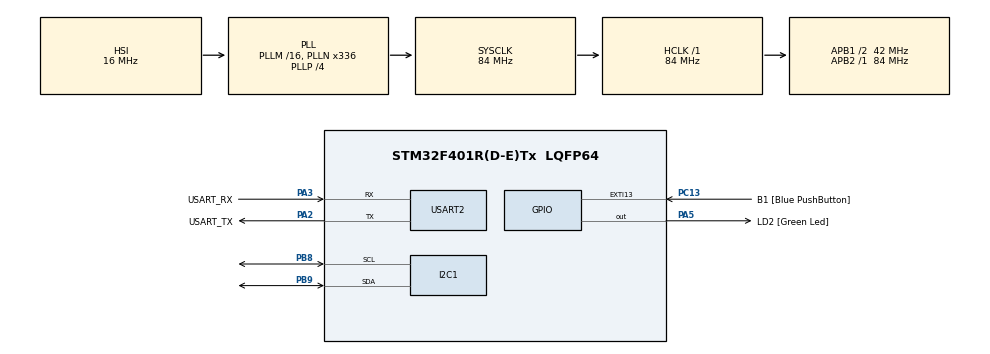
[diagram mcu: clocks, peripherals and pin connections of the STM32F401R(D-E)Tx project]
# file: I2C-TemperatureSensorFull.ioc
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Mcu.Family=STM32F4
Mcu.Name=STM32F401R(D-E)Tx
Mcu.Package=LQFP64
NVIC.PriorityGroup=NVIC_PRIORITYGROUP_1
NVIC.TIM1_TRG_COM_TIM11_IRQn=true\:0\:0\:false\:false\:true\:true\:true
PA13.GPIO_Label=TMS
PA13.Mode=Serial_Wire
PA13.Signal=SYS_JTMS-SWDIO
PA14.GPIO_Label=TCK
PA14.Mode=Serial_Wire
PA14.Signal=SYS_JTCK-SWCLK
PA2.GPIO_Label=USART_TX
PA2.GPIO_Mode=GPIO_MODE_AF_PP
PA2.GPIO_PuPd=GPIO_NOPULL
PA2.GPIO_Speed=GPIO_SPEED_FREQ_LOW
PA2.Mode=Asynchronous
PA2.Signal=USART2_TX
PA3.GPIO_Label=USART_RX
PA3.GPIO_Mode=GPIO_MODE_AF_PP
PA3.GPIO_PuPd=GPIO_NOPULL
PA3.GPIO_Speed=GPIO_SPEED_FREQ_LOW
PA3.Mode=Asynchronous
PA3.Signal=USART2_RX
PA5.GPIO_Label=LD2 [Green Led]
PA5.GPIO_Mode=GPIO_MODE_OUTPUT_PP
PA5.GPIO_PuPd=GPIO_NOPULL
PA5.GPIO_Speed=GPIO_SPEED_FREQ_LOW
PA5.Signal=GPIO_Output
PB3.GPIO_Label=SWO
PB3.Signal=SYS_JTDO-SWO
PB8.Mode=I2C
PB8.Signal=I2C1_SCL
PB9.Mode=I2C
PB9.Signal=I2C1_SDA
PC13-ANTI_TAMP.GPIO_Label=B1 [Blue PushButton]
PC13-ANTI_TAMP.GPIO_ModeDefaultEXTI=GPIO_MODE_IT_FALLING
PC13-ANTI_TAMP.GPIO_PuPd=GPIO_NOPULL
PC13-ANTI_TAMP.Signal=GPXTI13
PC14-OSC32_IN.Mode=LSE-External-Oscillator
PC14-OSC32_IN.Signal=RCC_OSC32_IN
PC15-OSC32_OUT.Mode=LSE-External-Oscillator
PC15-OSC32_OUT.Signal=RCC_OSC32_OUT
PH0\ -\ OSC_IN.Mode=HSE-External-Clock-Source
PH0\ -\ OSC_IN.Signal=RCC_OSC_IN
PH1\ -\ OSC_OUT.Mode=HSE-External-Clock-Source
PH1\ -\ OSC_OUT.Signal=RCC_OSC_OUT
ProjectManager.HeapSize=0x200
ProjectManager.StackSize=0x400
ProjectManager.TargetToolchain=STM32CubeIDE
RCC.48MHZClocksFreq_Value=48000000
RCC.AHBFreq_Value=84000000
RCC.APB1CLKDivider=RCC_HCLK_DIV2
RCC.APB1Freq_Value=42000000
RCC.APB1TimFreq_Value=84000000
RCC.APB2Freq_Value=84000000
RCC.APB2TimFreq_Value=84000000
RCC.CortexFreq_Value=84000000
RCC.HCLKFreq_Value=84000000
RCC.HSE_VALUE=8000000
RCC.HSI_VALUE=16000000
RCC.PLLN=336
RCC.PLLP=RCC_PLLP_DIV4
RCC.PLLQ=7
RCC.SYSCLKFreq_VALUE=84000000
RCC.SYSCLKSource=RCC_SYSCLKSOURCE_PLLCLK
RCC.VCOOutputFreq_Value=336000000
TIM11.Period=42000-1
TIM11.Prescaler=2000
USART2.VirtualMode=VM_ASYNC
VP_TIM11_VS_ClockSourceINT.Mode=Enable_Timer
board=NUCLEO-F401RE

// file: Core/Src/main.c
/* USER CODE BEGIN Header */
/**
 ******************************************************************************
 * @file           : main.c
 * @brief          : Main program body
 ******************************************************************************
 * @attention
 *
 * <h2><center>&copy; Copyright (c) 2021 STMicroelectronics.
 * All rights reserved.</center></h2>
 *
 * This software component is licensed by ST under BSD 3-Clause license,
 * the "License"; You may not use this file except in compliance with the
 * License. You may obtain a copy of the License at:
 *                        opensource.org/licenses/BSD-3-Clause
 *
 ******************************************************************************
 */
/* USER CODE END Header */
#include "main.h"

/* USER CODE BEGIN Includes */
#include "stdio.h"
#include "string.h"
#include "stdint.h"
/* USER CODE END Includes */

/* USER CODE BEGIN PTD */
typedef struct test {
	uint8_t msb;
	uint8_t lsb;
	float converted;
} Test;
/* USER CODE END PTD */

/* USER CODE BEGIN PD */
#define tempSensor_addr (0b1001000<<1) // shift by one for the R/W bit
/* USER CODE END PD */

I2C_HandleTypeDef hi2c1;

TIM_HandleTypeDef htim11;

UART_HandleTypeDef huart2;

/* USER CODE BEGIN PV */
uint8_t dataReg = 0x00; // register of the MSB of the data
uint8_t dataBuff[2]; // buffer for the temperature read
/* USER CODE END PV */

void SystemClock_Config(void);
static void MX_GPIO_Init(void);
static void MX_USART2_UART_Init(void);
static void MX_I2C1_Init(void);
static void MX_TIM11_Init(void);
/* USER CODE BEGIN PFP */
int selfTest(void);
float convertToFloat(int8_t msb, uint8_t lsb);
void repBinary(char *byteRep, uint8_t byte);
/* USER CODE END PFP */

int main(void) {

	/* MCU Configuration--------------------------------------------------------*/

	/* Reset of all peripherals, Initializes the Flash interface and the Systick. */
	HAL_Init();

	/* Configure the system clock */
	SystemClock_Config();

	/* Initialize all configured peripherals */
	MX_GPIO_Init();
	MX_USART2_UART_Init();
	MX_I2C1_Init();
	MX_TIM11_Init();

	/* Infinite loop */
	/* USER CODE BEGIN WHILE */
	// if selfTest passes, then start the program. otherwise fail
	if (selfTest()) {
		// initializes the register that will be sent by the peripheral
		HAL_I2C_Master_Transmit(&hi2c1, tempSensor_addr, &dataReg, 1, 1000);
		HAL_TIM_Base_Start_IT(&htim11);
	}

	while (1) {
		/* USER CODE END WHILE */

	}
}

void SystemClock_Config(void) {
	RCC_OscInitTypeDef RCC_OscInitStruct = { 0 };
	RCC_ClkInitTypeDef RCC_ClkInitStruct = { 0 };

	/** Configure the main internal regulator output voltage
	 */
	__HAL_RCC_PWR_CLK_ENABLE();
	__HAL_PWR_VOLTAGESCALING_CONFIG(PWR_REGULATOR_VOLTAGE_SCALE2);
	/** Initializes the RCC Oscillators according to the specified parameters
	 * in the RCC_OscInitTypeDef structure.
	 */
	RCC_OscInitStruct.OscillatorType = RCC_OSCILLATORTYPE_HSI;
	RCC_OscInitStruct.HSIState = RCC_HSI_ON;
	RCC_OscInitStruct.HSICalibrationValue = RCC_HSICALIBRATION_DEFAULT;
	RCC_OscInitStruct.PLL.PLLState = RCC_PLL_ON;
	RCC_OscInitStruct.PLL.PLLSource = RCC_PLLSOURCE_HSI;
	RCC_OscInitStruct.PLL.PLLM = 16;
	RCC_OscInitStruct.PLL.PLLN = 336;
	RCC_OscInitStruct.PLL.PLLP = RCC_PLLP_DIV4;
	RCC_OscInitStruct.PLL.PLLQ = 7;
	if (HAL_RCC_OscConfig(&RCC_OscInitStruct) != HAL_OK) {
		Error_Handler();
	}
	/** Initializes the CPU, AHB and APB buses clocks
	 */
	RCC_ClkInitStruct.ClockType = RCC_CLOCKTYPE_HCLK | RCC_CLOCKTYPE_SYSCLK
			| RCC_CLOCKTYPE_PCLK1 | RCC_CLOCKTYPE_PCLK2;
	RCC_ClkInitStruct.SYSCLKSource = RCC_SYSCLKSOURCE_PLLCLK;
	RCC_ClkInitStruct.AHBCLKDivider = RCC_SYSCLK_DIV1;
	RCC_ClkInitStruct.APB1CLKDivider = RCC_HCLK_DIV2;
	RCC_ClkInitStruct.APB2CLKDivider = RCC_HCLK_DIV1;

	if (HAL_RCC_ClockConfig(&RCC_ClkInitStruct, FLASH_LATENCY_2) != HAL_OK) {
		Error_Handler();
	}
}

static void MX_I2C1_Init(void) {

	hi2c1.Instance = I2C1;
	hi2c1.Init.ClockSpeed = 100000;
	hi2c1.Init.DutyCycle = I2C_DUTYCYCLE_2;
	hi2c1.Init.OwnAddress1 = 0;
	hi2c1.Init.AddressingMode = I2C_ADDRESSINGMODE_7BIT;
	hi2c1.Init.DualAddressMode = I2C_DUALADDRESS_DISABLE;
	hi2c1.Init.OwnAddress2 = 0;
	hi2c1.Init.GeneralCallMode = I2C_GENERALCALL_DISABLE;
	hi2c1.Init.NoStretchMode = I2C_NOSTRETCH_DISABLE;
	if (HAL_I2C_Init(&hi2c1) != HAL_OK) {
		Error_Handler();
	}

}

static void MX_TIM11_Init(void) {

	htim11.Instance = TIM11;
	htim11.Init.Prescaler = 2000;
	htim11.Init.CounterMode = TIM_COUNTERMODE_UP;
	htim11.Init.Period = 42000 - 1;
	htim11.Init.ClockDivision = TIM_CLOCKDIVISION_DIV1;
	htim11.Init.AutoReloadPreload = TIM_AUTORELOAD_PRELOAD_DISABLE;
	if (HAL_TIM_Base_Init(&htim11) != HAL_OK) {
		Error_Handler();
	}

}

static void MX_USART2_UART_Init(void) {

	huart2.Instance = USART2;
	huart2.Init.BaudRate = 115200;
	huart2.Init.WordLength = UART_WORDLENGTH_8B;
	huart2.Init.StopBits = UART_STOPBITS_1;
	huart2.Init.Parity = UART_PARITY_NONE;
	huart2.Init.Mode = UART_MODE_TX_RX;
	huart2.Init.HwFlowCtl = UART_HWCONTROL_NONE;
	huart2.Init.OverSampling = UART_OVERSAMPLING_16;
	if (HAL_UART_Init(&huart2) != HAL_OK) {
		Error_Handler();
	}

}

static void MX_GPIO_Init(void) {
	GPIO_InitTypeDef GPIO_InitStruct = { 0 };

	/* GPIO Ports Clock Enable */
	__HAL_RCC_GPIOC_CLK_ENABLE();
	__HAL_RCC_GPIOH_CLK_ENABLE();
	__HAL_RCC_GPIOA_CLK_ENABLE();
	__HAL_RCC_GPIOB_CLK_ENABLE();

	/*Configure GPIO pin Output Level */
	HAL_GPIO_WritePin(LD2_GPIO_Port, LD2_Pin, GPIO_PIN_RESET);

	/*Configure GPIO pin : B1_Pin */
	GPIO_InitStruct.Pin = B1_Pin;
	GPIO_InitStruct.Mode = GPIO_MODE_IT_FALLING;
	GPIO_InitStruct.Pull = GPIO_NOPULL;
	HAL_GPIO_Init(B1_GPIO_Port, &GPIO_InitStruct);

	/*Configure GPIO pin : LD2_Pin */
	GPIO_InitStruct.Pin = LD2_Pin;
	GPIO_InitStruct.Mode = GPIO_MODE_OUTPUT_PP;
	GPIO_InitStruct.Pull = GPIO_NOPULL;
	GPIO_InitStruct.Speed = GPIO_SPEED_FREQ_LOW;
	HAL_GPIO_Init(LD2_GPIO_Port, &GPIO_InitStruct);

}

/* USER CODE BEGIN 4 */
/**
 * @brief represents a byte into a string of bits
 * @param byteRep: pointer to the string in which the result will be put
 * @param byte: byte to be represented in string
 */
void repBinary(char *byteRep, uint8_t byte) {
	for (int i = 0; i < 8; i++) {
		byteRep[i] = (byte & 0b10000000) ? '1' : '0';
		byte <<= 1;
	}
	byteRep[9] = 0;
}

/**
 * @brief testing the convertToFloat conversion
 *
 * @retval 1 if selfTest is passed, 0 otherwise
 */
int selfTest() {
	char string[128], repMSB[9], repLSB[9];
	int len;
	float converted;
	Test tests[] = { { 0b01111111, 0b00000000, 127.0 }, { 0b01111110,
			0b11100000, 126.875 }, { 0b01111110, 0b00100000, 126.125 }, {
			0b01111101, 0b00000000, 125.0 }, { 0b00011001, 0b00000000, 25.0 }, {
			0b00000000, 0b00100000, 0.125 }, { 0b11111111, 0b11100000, -0.125 },
			{ 0b11001001, 0b00100000, -54.875 } };

	len = sprintf(string, "\r\n*** Self test started ***\r\n");
	HAL_UART_Transmit(&huart2, string, len, 1000);

	for (int i = 0; i < sizeof(tests) / sizeof(Test); i++) {
		converted = convertToFloat(tests[i].msb, tests[i].lsb);
		repBinary(repMSB, tests[i].msb);
		repBinary(repLSB, tests[i].lsb);
		if (converted != tests[i].converted) {
			len =
					sprintf(string,
							"Self test %d FAILED: 0b%s, 0b%s \r\nexpected: %f \r\nobtained: %f \r\n",
							i, repMSB, repLSB, tests[i].converted, converted);

			HAL_UART_Transmit(&huart2, string, len, 1000);
			return 0;
		} else {
			len = sprintf(string, "Self test %d PASSED: 0b%s, 0b%s => %f\r\n",
					i, repMSB, repLSB, converted);

			HAL_UART_Transmit(&huart2, string, len, 1000);
		}
	}

	strcpy(string, "Self test PASSED!\r\n");
	HAL_UART_Transmit(&huart2, string, strlen(string), 1000);
	return 1;
}

/**
 * @brief function that converts two bytes in a float value
 * @param msb most significant bit of the temperature value
 * @param lsb least significant bit of the temperature value
 */
float convertToFloat(int8_t msb, uint8_t lsb) {
	// "concatenates" the two bytes and then divides them by 2^(decimal places), that is 256
	return ((float) (((int16_t) (msb) << 8) | lsb)) / 256.0;
}

void HAL_TIM_PeriodElapsedCallback(TIM_HandleTypeDef *htim) {
	if (htim == &htim11) {
		// read MSB and LSB into a buffer of length 2
		if (HAL_I2C_Master_Receive(&hi2c1, tempSensor_addr + 1, dataBuff, 2,
				1000) == HAL_OK) {

			// converting the data received into a temperature
			float temperature = convertToFloat(dataBuff[0], dataBuff[1]);

			// forging string to send
			unsigned char string[64];
			int len = sprintf(string, "Temp: %.3f Celsius\r\n", temperature);

			// transmitting the forged string with our data back on the serial
			HAL_UART_Transmit(&huart2, string, len, 1000);
		}
	}
}
/* USER CODE END 4 */

void Error_Handler(void) {
	__disable_irq();
	while (1) {
	}
}

/************************ (C) COPYRIGHT STMicroelectronics *****END OF FILE****/
